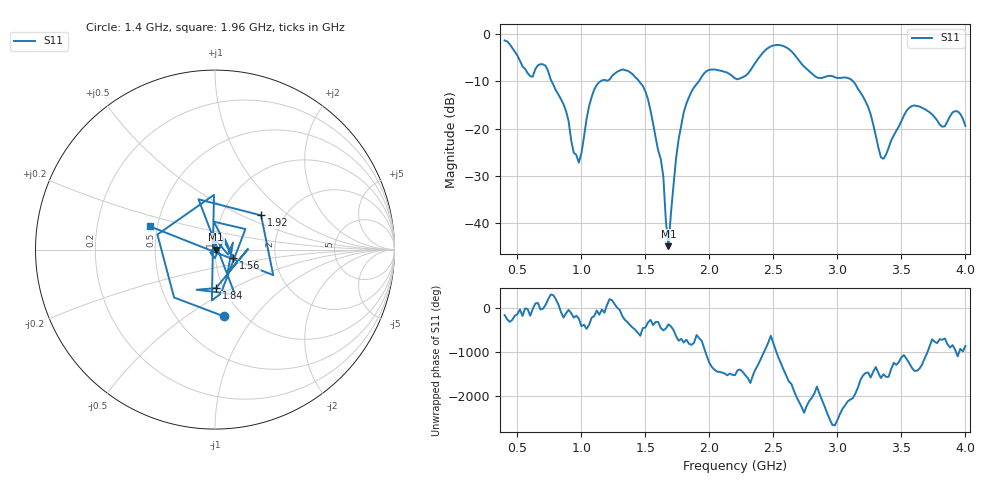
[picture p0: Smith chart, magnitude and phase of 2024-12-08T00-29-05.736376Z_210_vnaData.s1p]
!Created with skrf (http://scikit-rf.org).
# Hz S RI R 50.0
!freq ReS11 ImS11
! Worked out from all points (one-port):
!   181 points, 400 MHz to 4 GHz, reference 50 ohm
!   lowest |S11| = -44.9 dB at 1.68 GHz (marker M1), VSWR 1.01, Z = 50.6 - j0.0935 ohm
!   |S11| at or under -10 dB: 767.5 MHz to 1.148 GHz (381 MHz wide, 39.8 % of centre); 1.451 GHz to 1.917 GHz (465.8 MHz wide, 27.7 % of centre); 3.123 GHz to end of sweep
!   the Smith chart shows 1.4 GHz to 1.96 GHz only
!   S11 on the Smith chart (normalised r, x): 1.4 GHz: 0.83, -0.72; 1.56 GHz: 1.22, -0.12; 1.84 GHz: 0.92, -0.41; 1.92 GHz: 1.52, +0.65; 1.96 GHz: 0.45, +0.14
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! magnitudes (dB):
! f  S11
! 400 MHz  -1.3
! 600 MHz  -8.9
! 720 MHz  -6.7
! 860 MHz  -14.8
! 980 MHz  -27.2
! 1.1 GHz  -11.7
! 1.3 GHz  -7.7
! 1.4 GHz  -8.5
! 1.5 GHz  -12.1
! 1.56 GHz  -18.9
! 1.64 GHz  -30.1
! 1.66 GHz  -39.6
! 1.68 GHz  -44.9
! 1.76 GHz  -22.2
! 1.84 GHz  -13.4
! 1.92 GHz  -9.9
! 1.96 GHz  -8.3
! 2.2 GHz  -9.4
! 2.48 GHz  -2.6
! 2.66 GHz  -4.2
! 2.84 GHz  -9.2
! 3.1 GHz  -9.5
! 3.24 GHz  -15.4
! 3.36 GHz  -26.4
! 3.56 GHz  -15.6
! 3.82 GHz  -19.6
! 3.94 GHz  -16.4
! 4 GHz  -19.4
